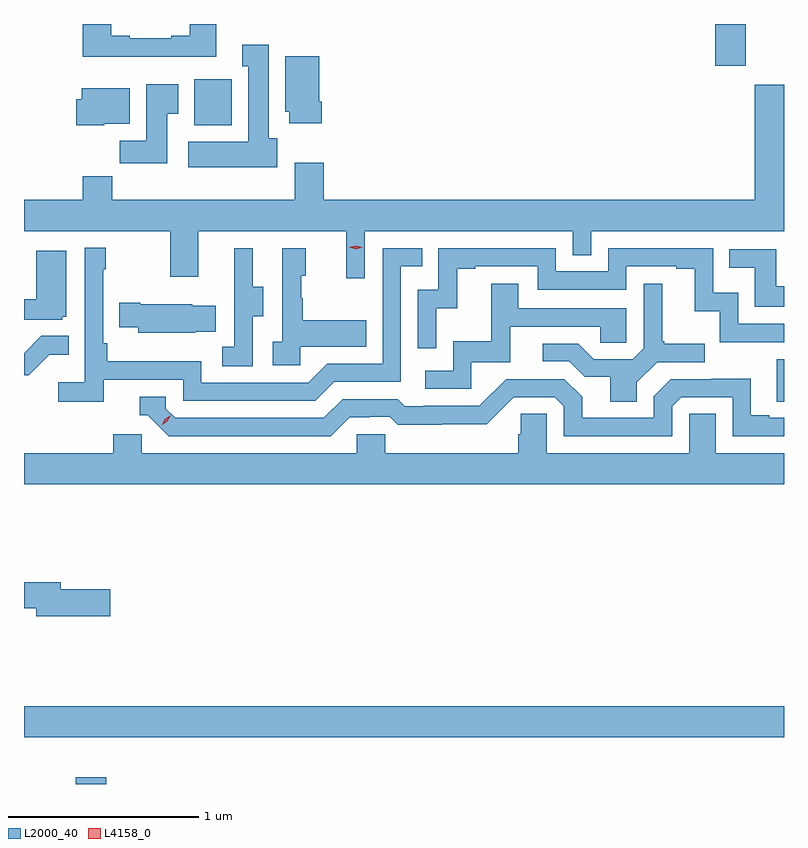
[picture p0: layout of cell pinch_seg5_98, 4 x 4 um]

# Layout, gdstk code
import gdstk
lib = gdstk.Library(unit=1e-6, precision=1e-09)
def R(c, l, rs):  # rectangles x0, y0, x1, y1
    for r in rs: c.add(gdstk.rectangle(r[:2], r[2:], *l))
def P(c, l, *ps):  # polygons
    for p in ps: c.add(gdstk.Polygon(p, *l))
L2000_40 = (2000, 40)
L4158_0 = (4158, 0)

pinch_seg5_98 = lib.new_cell('pinch_seg5_98')
R(pinch_seg5_98, L2000_40, [(1069.979,901.802,1070.14,901.837), (1069.707,902.048,1073.707,902.212), (1073.669,903.814,1073.707,904.038), (1070.603,905.27,1070.8,905.512), (1073.345,905.583,1073.505,905.802)])
P(pinch_seg5_98, L2000_40, [(1070.719,905.802),(1070.579,905.802),(1070.579,905.74),(1070.483,905.74),(1070.483,905.727),(1070.263,905.727),(1070.263,905.74),(1070.167,905.74),(1070.167,905.802),(1070.015,905.802),(1070.015,905.63),(1070.719,905.63)],
  [(1071.04,905.202),(1070.995,905.202),(1070.995,905.692),(1070.855,905.692),(1070.855,905.579),(1070.888,905.579),(1070.888,905.182),(1070.571,905.182),(1070.571,905.048),(1071.04,905.048)],
  [(1071.275,905.392),(1071.262,905.392),(1071.262,905.632),(1071.083,905.632),(1071.083,905.34),(1071.104,905.34),(1071.104,905.28),(1071.275,905.28)],
  [(1070.461,905.329),(1070.518,905.329),(1070.518,905.485),(1070.351,905.485),(1070.351,905.188),(1070.212,905.188),(1070.212,905.07),(1070.461,905.07)],
  [(1071.501,904.712),(1072.596,904.712),(1072.596,904.585),(1072.692,904.585),(1072.692,904.712),(1073.707,904.712),(1073.707,905.482),(1073.552,905.482),(1073.552,904.876),(1071.284,904.876),(1071.284,905.071),(1071.131,905.071),(1071.131,904.876),(1070.171,904.876),(1070.171,905),(1070.015,905),(1070.015,904.876),(1069.707,904.876),(1069.707,904.712),(1070.476,904.712),(1070.476,904.473),(1070.623,904.473),(1070.623,904.712),(1071.404,904.712),(1071.404,904.464),(1071.501,904.464)],
  [(1070.13,905.276),(1070.263,905.276),(1070.263,905.464),(1070.012,905.464),(1070.012,905.406),(1069.982,905.406),(1069.982,905.27),(1070.13,905.27)],
  [(1070.126,903.93),(1070.544,903.93),(1070.544,903.819),(1071.241,903.819),(1071.34,903.918),(1071.69,903.918),(1071.69,904.527),(1071.803,904.527),(1071.803,904.623),(1071.594,904.623),(1071.594,904.014),(1071.303,904.014),(1071.204,903.915),(1070.64,903.915),(1070.64,904.027),(1070.144,904.027),(1070.144,904.123),(1070.124,904.123),(1070.124,904.511),(1070.137,904.511),(1070.137,904.624),(1070.028,904.624),(1070.028,903.916),(1069.887,903.916),(1069.887,903.814),(1070.126,903.814)],
  [(1071.876,904.307),(1071.986,904.307),(1071.986,904.515),(1072.081,904.515),(1072.081,904.527),(1072.41,904.527),(1072.41,904.404),(1072.878,904.404),(1072.878,904.527),(1073.141,904.527),(1073.141,904.515),(1073.237,904.515),(1073.237,904.289),(1073.37,904.289),(1073.37,904.128),(1073.707,904.128),(1073.707,904.224),(1073.466,904.224),(1073.466,904.387),(1073.334,904.387),(1073.334,904.623),(1072.782,904.623),(1072.782,904.5),(1072.506,904.5),(1072.506,904.623),(1071.888,904.623),(1071.888,904.404),(1071.78,904.404),(1071.78,904.095),(1071.876,904.095)],
  [(1070.91,904.264),(1070.965,904.264),(1070.965,904.419),(1070.911,904.419),(1070.911,904.621),(1070.813,904.621),(1070.813,904.407),(1070.814,904.407),(1070.814,904.103),(1070.751,904.103),(1070.751,904),(1070.91,904)],
  [(1071.162,904.103),(1071.509,904.103),(1071.509,904.243),(1071.175,904.243),(1071.175,904.358),(1071.165,904.358),(1071.165,904.476),(1071.19,904.476),(1071.19,904.621),(1071.066,904.621),(1071.066,904.13),(1071.015,904.13),(1071.015,904.005),(1071.162,904.005)],
  [(1073.707,904.423),(1073.665,904.423),(1073.665,904.617),(1073.419,904.617),(1073.419,904.52),(1073.554,904.52),(1073.554,904.314),(1073.707,904.314)],
  [(1069.908,904.26),(1069.93,904.26),(1069.93,904.609),(1069.772,904.609),(1069.772,904.354),(1069.707,904.354),(1069.707,904.245),(1069.908,904.245)],
  [(1072.933,903.916),(1073.04,904.023),(1073.29,904.023),(1073.29,904.12),(1073.077,904.12),(1073.077,904.132),(1073.065,904.132),(1073.065,904.435),(1072.968,904.435),(1072.968,904.095),(1072.911,904.038),(1072.705,904.038),(1072.624,904.119),(1072.437,904.119),(1072.437,904.026),(1072.578,904.026),(1072.658,903.946),(1072.793,903.946),(1072.793,903.814),(1072.933,903.814)],
  [(1072.062,904.023),(1072.267,904.023),(1072.267,904.209),(1072.741,904.209),(1072.741,904.125),(1072.878,904.125),(1072.878,904.305),(1072.309,904.305),(1072.309,904.435),(1072.165,904.435),(1072.165,904.132),(1071.966,904.132),(1071.966,903.978),(1071.819,903.978),(1071.819,903.882),(1072.062,903.882)],
  [(1070.609,904.181),(1070.717,904.181),(1070.717,904.318),(1070.592,904.318),(1070.592,904.327),(1070.32,904.327),(1070.32,904.335),(1070.209,904.335),(1070.209,904.205),(1070.307,904.205),(1070.307,904.178),(1070.609,904.178)],
  [(1069.839,904.061),(1069.943,904.061),(1069.943,904.16),(1069.799,904.16),(1069.707,904.068),(1069.707,903.954),(1069.732,903.954)],
  [(1071.421,903.732),(1071.528,903.732),(1071.528,903.735),(1071.631,903.735),(1071.673,903.693),(1071.906,903.693),(1071.906,903.695),(1072.142,903.695),(1072.284,903.837),(1072.5,903.837),(1072.548,903.789),(1072.548,903.633),(1073.118,903.633),(1073.118,903.789),(1073.166,903.837),(1073.436,903.837),(1073.436,903.633),(1073.707,903.633),(1073.707,903.729),(1073.629,903.729),(1073.629,903.742),(1073.533,903.742),(1073.533,903.935),(1073.328,903.935),(1073.328,903.933),(1073.112,903.933),(1073.022,903.843),(1073.022,903.729),(1072.645,903.729),(1072.645,903.839),(1072.551,903.933),(1072.245,903.933),(1072.104,903.792),(1071.811,903.792),(1071.811,903.789),(1071.712,903.789),(1071.673,903.828),(1071.384,903.828),(1071.285,903.729),(1070.502,903.729),(1070.454,903.777),(1070.454,903.84),(1070.315,903.84),(1070.315,903.744),(1070.358,903.744),(1070.469,903.633),(1071.322,903.633)],
  [(1073.707,903.544),(1073.347,903.544),(1073.347,903.752),(1073.208,903.752),(1073.208,903.544),(1072.458,903.544),(1072.458,903.752),(1072.321,903.752),(1072.321,903.642),(1072.307,903.642),(1072.307,903.544),(1071.609,903.544),(1071.609,903.642),(1071.459,903.642),(1071.459,903.544),(1070.328,903.544),(1070.328,903.642),(1070.177,903.642),(1070.177,903.544),(1069.707,903.544),(1069.707,903.38),(1073.707,903.38)],
  [(1070.161,902.828),(1069.9,902.828),(1069.9,902.864),(1069.707,902.864),(1069.707,902.728),(1069.772,902.728),(1069.772,902.686),(1070.161,902.686)])
P(pinch_seg5_98, L4158_0, [(1070.431,903.691),(1070.431,903.691),(1070.448,903.723),(1070.479,903.742),(1070.479,903.742),(1070.479,903.742),(1070.462,903.71),(1070.432,903.691)],
  [(1071.454,904.616),(1071.418,904.626),(1071.418,904.626),(1071.418,904.626),(1071.454,904.636),(1071.489,904.626),(1071.489,904.626),(1071.489,904.626)])

lib.write_gds('pinch_seg5_98.gds')
